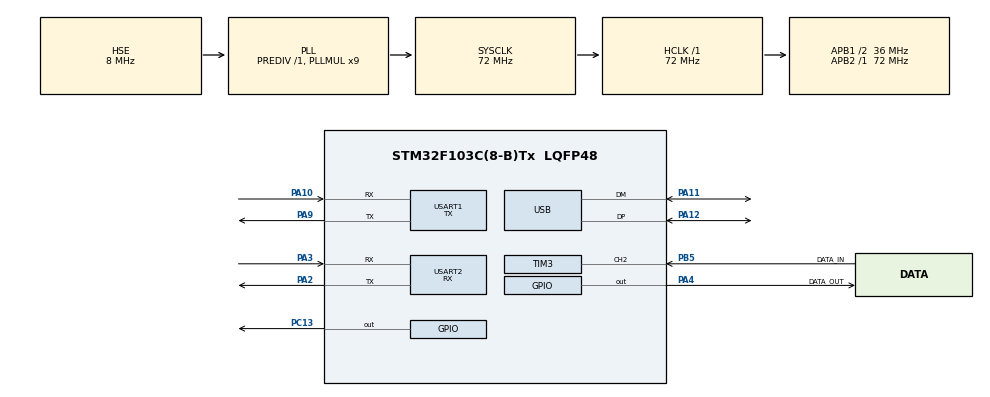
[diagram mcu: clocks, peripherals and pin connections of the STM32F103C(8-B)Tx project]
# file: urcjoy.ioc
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Mcu.Family=STM32F1
USB_DEVICE.CLASS_NAME_FS=CUSTOMHID
PD1-OSC_OUT.Mode=HSE-External-Oscillator
USB_DEVICE.INTERFACE_STRING_CUSTOMHID_FS=HID Interface
TIM3.Channel-Input_Capture2_from_TI2=TIM_CHANNEL_2
PA10.Mode=Asynchronous
USB_DEVICE.USBD_CUSTOM_HID_REPORT_DESC_SIZE=57
USB_DEVICE.VirtualModeFS=Custom_Hid_FS
VP_IWDG_VS_IWDG.Mode=IWDG_Activate
VP_USB_DEVICE_VS_USB_DEVICE_CUSTOM_HID_FS.Mode=CUSTOM_HID_FS
PC13-TAMPER-RTC.Signal=GPIO_Output
RCC.USBPrescaler=RCC_USBCLKSOURCE_PLL_DIV1_5
PA11.Mode=Device
PD0-OSC_IN.Signal=RCC_OSC_IN
RCC.APB1CLKDivider=RCC_HCLK_DIV2
RCC.SYSCLKSource=RCC_SYSCLKSOURCE_PLLCLK
ProjectManager.StackSize=0x400
PD1-OSC_OUT.Signal=RCC_OSC_OUT
PA13.Signal=SYS_JTMS-SWDIO
PA3.Mode=Asynchronous
PA9.Mode=Asynchronous
PA12.Signal=USB_DP
PA4.PinState=GPIO_PIN_RESET
USB_DEVICE.PID_CUSTOMHID_FS=22288
ProjectManager.TargetToolchain=Makefile
RCC.HCLKFreq_Value=72000000
RCC.APB2TimFreq_Value=72000000
TIM3.Period=65535
PA9.Signal=USART1_TX
RCC.USBFreq_Value=48000000
RCC.AHBFreq_Value=72000000
PD0-OSC_IN.Mode=HSE-External-Oscillator
USB_DEVICE.PRODUCT_STRING_CUSTOMHID_FS=Universal RC Joystick
SH.S_TIM3_CH2.1=TIM3_CH2,TriggerSource_TI2FP2
SH.S_TIM3_CH2.0=TIM3_CH2,Input_Capture2_from_TI2
PA4.GPIO_PuPd=GPIO_NOPULL
board=custom
RCC.PLLMUL=RCC_PLL_MUL9
PA4.GPIO_Speed=GPIO_SPEED_FREQ_HIGH
RCC.APB2Freq_Value=72000000
USB_DEVICE.USBD_SELF_POWERED=0
USART1.Mode=MODE_TX
PA14.Mode=Serial_Wire
TIM3.Prescaler=71
NVIC.USB_LP_CAN1_RX0_IRQn=true\:1\:0\:true\:false\:true\:false\:true
USB_DEVICE.CONFIGURATION_STRING_CUSTOMHID_FS=HID Config
PA13.Mode=Serial_Wire
Mcu.Name=STM32F103C(8-B)Tx
PA2.Signal=USART2_TX
USB_DEVICE.SERIALNUMBER_STRING_CUSTOMHID_FS=0000000000DA
PA4.Signal=GPIO_Output
RCC.SYSCLKFreq_VALUE=72000000
Mcu.Package=LQFP48
PB5.Signal=S_TIM3_CH2
PA12.Mode=Device
USART2.VirtualMode=VM_ASYNC
USART1.VirtualMode=VM_ASYNC
PA11.Signal=USB_DM
PA10.Signal=USART1_RX
PA14.Signal=SYS_JTCK-SWCLK
ProjectManager.HeapSize=0x200
PA4.GPIO_ModeDefaultOutputPP=GPIO_MODE_OUTPUT_PP
NVIC.PriorityGroup=NVIC_PRIORITYGROUP_4
PB5.GPIO_Label=DATA_IN
IWDG.Prescaler=IWDG_PRESCALER_16
RCC.APB1TimFreq_Value=72000000
PA2.Mode=Asynchronous
USB_DEVICE.USBD_CUSTOMHID_OUTREPORT_BUF_SIZE=64
VP_TIM3_VS_ControllerModeReset.Mode=Reset Mode
RCC.APB1Freq_Value=36000000
USART2.Mode=MODE_RX
USB_DEVICE.VirtualMode=CustomHid
PA4.GPIO_Label=DATA_OUT
VP_TIM3_VS_ClockSourceINT.Mode=Internal
PA3.Signal=USART2_RX

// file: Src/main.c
/**
  ******************************************************************************
  * @file           : main.c
  * @brief          : Main program body
  ******************************************************************************
  * This notice applies to any and all portions of this file
  * that are not between comment pairs USER CODE BEGIN and
  * USER CODE END. Other portions of this file, whether
  * inserted by the user or by software development tools
  * are owned by their respective copyright owners.
  *
  * Copyright (c) 2022 STMicroelectronics International N.V.
  * All rights reserved.
  *
  * Redistribution and use in source and binary forms, with or without
  * modification, are permitted, provided that the following conditions are met:
  *
  * 1. Redistribution of source code must retain the above copyright notice,
  *    this list of conditions and the following disclaimer.
  * 2. Redistributions in binary form must reproduce the above copyright notice,
  *    this list of conditions and the following disclaimer in the documentation
  *    and/or other materials provided with the distribution.
  * 3. Neither the name of STMicroelectronics nor the names of other
  *    contributors to this software may be used to endorse or promote products
  *    derived from this software without specific written permission.
  * 4. This software, including modifications and/or derivative works of this
  *    software, must execute solely and exclusively on microcontroller or
  *    microprocessor devices manufactured by or for STMicroelectronics.
  * 5. Redistribution and use of this software other than as permitted under
  *    this license is void and will automatically terminate your rights under
  *    this license.
  *
  * THIS SOFTWARE IS PROVIDED BY STMICROELECTRONICS AND CONTRIBUTORS "AS IS"
  * AND ANY EXPRESS, IMPLIED OR STATUTORY WARRANTIES, INCLUDING, BUT NOT
  * LIMITED TO, THE IMPLIED WARRANTIES OF MERCHANTABILITY, FITNESS FOR A
  * PARTICULAR PURPOSE AND NON-INFRINGEMENT OF THIRD PARTY INTELLECTUAL PROPERTY
  * RIGHTS ARE DISCLAIMED TO THE FULLEST EXTENT PERMITTED BY LAW. IN NO EVENT
  * SHALL STMICROELECTRONICS OR CONTRIBUTORS BE LIABLE FOR ANY DIRECT, INDIRECT,
  * INCIDENTAL, SPECIAL, EXEMPLARY, OR CONSEQUENTIAL DAMAGES (INCLUDING, BUT NOT
  * LIMITED TO, PROCUREMENT OF SUBSTITUTE GOODS OR SERVICES; LOSS OF USE, DATA,
  * OR PROFITS; OR BUSINESS INTERRUPTION) HOWEVER CAUSED AND ON ANY THEORY OF
  * LIABILITY, WHETHER IN CONTRACT, STRICT LIABILITY, OR TORT (INCLUDING
  * NEGLIGENCE OR OTHERWISE) ARISING IN ANY WAY OUT OF THE USE OF THIS SOFTWARE,
  * EVEN IF ADVISED OF THE POSSIBILITY OF SUCH DAMAGE.
  *
  ******************************************************************************
  */
#include "main.h"
#include "stm32f1xx_hal.h"
#include "usb_device.h"

/* USER CODE BEGIN Includes */

#include "protocols.h"

/* USER CODE END Includes */

IWDG_HandleTypeDef hiwdg;

TIM_HandleTypeDef htim3;

UART_HandleTypeDef huart1;
UART_HandleTypeDef huart2;

/* USER CODE BEGIN PV */
/* Private variables ---------------------------------------------------------*/

/* USER CODE END PV */

void SystemClock_Config(void);
static void MX_GPIO_Init(void);
static void MX_USART1_UART_Init(void);
static void MX_USART2_UART_Init(void);
static void MX_IWDG_Init(void);
static void MX_TIM3_Init(void);

/* USER CODE BEGIN PFP */
/* Private function prototypes -----------------------------------------------*/

static void GPIO_Data_Out_Init(void);
static void GPIO_Data_Out_DeInit(void);
static void GPIO_USB_Reset();
static void UART_Reset();
static void UART_Set_115200_8N1();
static void UART_Set_100000_8E2();

/* USER CODE END PFP */

int main(void)
{
  /* USER CODE BEGIN 1 */

  int isPorReset = __HAL_RCC_GET_FLAG(RCC_FLAG_PORRST);
  __HAL_RCC_CLEAR_RESET_FLAGS();

  /* USER CODE END 1 */

  /* MCU Configuration----------------------------------------------------------*/

  /* Reset of all peripherals, Initializes the Flash interface and the Systick. */
  HAL_Init();

  /* Configure the system clock */
  SystemClock_Config();

  /* Initialize all configured peripherals */
  MX_GPIO_Init();
  if(!isPorReset) {
    GPIO_USB_Reset();
  }
  MX_USB_DEVICE_Init();
  MX_USART1_UART_Init();
  MX_USART2_UART_Init();
  MX_IWDG_Init();
  MX_TIM3_Init();
  /* USER CODE BEGIN 2 */

  HAL_TIM_Base_DeInit(&htim3);
  GPIO_Data_Out_Init();

  DebugLog("Init\n");
  if(!isPorReset) {
    DebugLog("USB Reset\n");
  }
  /* USER CODE END 2 */

  /* Infinite loop */
  while (1)
  {

  /* USER CODE BEGIN 3 */

    // IBUS

    uartInvert = 0;

    UART_Set_115200_8N1();
    ProtoIbusReader(&huart2);

    UART_Set_115200_8N1();
    ProtoIbusIa6Reader(&huart2);

    // SBUS

    UART_Set_100000_8E2();
    // try inverted first
    uartInvert = 1;
    ProtoSbusReader(&huart2);

    UART_Set_100000_8E2();
    // try uninverted
    uartInvert = 0;
    ProtoSbusReader(&huart2);

    // Spektrum DSM

    UART_Set_115200_8N1();
    ProtoDsmReader(&huart2);

    // PPM
    GPIO_Data_Out_DeInit();
    HAL_TIM_Base_Init(&htim3);
    HAL_GPIO_WritePin(DATA_OUT_GPIO_Port, DATA_OUT_Pin, GPIO_PIN_RESET);

    ProtoPpmReader(&htim3);

    HAL_TIM_Base_DeInit(&htim3);
    GPIO_Data_Out_Init();

    // FPort

    UART_Set_115200_8N1();
    // try inverted first
    uartInvert = 1;
    ProtoFportReader(&huart2);

    UART_Set_115200_8N1();
    // try uninverted
    uartInvert = 0;
    ProtoFportReader(&huart2);
  }
  /* USER CODE END 3 */

}

void SystemClock_Config(void)
{

  RCC_OscInitTypeDef RCC_OscInitStruct;
  RCC_ClkInitTypeDef RCC_ClkInitStruct;
  RCC_PeriphCLKInitTypeDef PeriphClkInit;

    /**Initializes the CPU, AHB and APB busses clocks
    */
  RCC_OscInitStruct.OscillatorType = RCC_OSCILLATORTYPE_LSI|RCC_OSCILLATORTYPE_HSE;
  RCC_OscInitStruct.HSEState = RCC_HSE_ON;
  RCC_OscInitStruct.HSEPredivValue = RCC_HSE_PREDIV_DIV1;
  RCC_OscInitStruct.HSIState = RCC_HSI_ON;
  RCC_OscInitStruct.LSIState = RCC_LSI_ON;
  RCC_OscInitStruct.PLL.PLLState = RCC_PLL_ON;
  RCC_OscInitStruct.PLL.PLLSource = RCC_PLLSOURCE_HSE;
  RCC_OscInitStruct.PLL.PLLMUL = RCC_PLL_MUL9;
  if (HAL_RCC_OscConfig(&RCC_OscInitStruct) != HAL_OK)
  {
    _Error_Handler(__FILE__, __LINE__);
  }

    /**Initializes the CPU, AHB and APB busses clocks
    */
  RCC_ClkInitStruct.ClockType = RCC_CLOCKTYPE_HCLK|RCC_CLOCKTYPE_SYSCLK
                              |RCC_CLOCKTYPE_PCLK1|RCC_CLOCKTYPE_PCLK2;
  RCC_ClkInitStruct.SYSCLKSource = RCC_SYSCLKSOURCE_PLLCLK;
  RCC_ClkInitStruct.AHBCLKDivider = RCC_SYSCLK_DIV1;
  RCC_ClkInitStruct.APB1CLKDivider = RCC_HCLK_DIV2;
  RCC_ClkInitStruct.APB2CLKDivider = RCC_HCLK_DIV1;

  if (HAL_RCC_ClockConfig(&RCC_ClkInitStruct, FLASH_LATENCY_2) != HAL_OK)
  {
    _Error_Handler(__FILE__, __LINE__);
  }

  PeriphClkInit.PeriphClockSelection = RCC_PERIPHCLK_USB;
  PeriphClkInit.UsbClockSelection = RCC_USBCLKSOURCE_PLL_DIV1_5;
  if (HAL_RCCEx_PeriphCLKConfig(&PeriphClkInit) != HAL_OK)
  {
    _Error_Handler(__FILE__, __LINE__);
  }

    /**Configure the Systick interrupt time
    */
  HAL_SYSTICK_Config(HAL_RCC_GetHCLKFreq()/1000);

    /**Configure the Systick
    */
  HAL_SYSTICK_CLKSourceConfig(SYSTICK_CLKSOURCE_HCLK);

  /* SysTick_IRQn interrupt configuration */
  HAL_NVIC_SetPriority(SysTick_IRQn, 1, 0);
}

/* IWDG init function */
static void MX_IWDG_Init(void)
{

  hiwdg.Instance = IWDG;
  hiwdg.Init.Prescaler = IWDG_PRESCALER_16;
  hiwdg.Init.Reload = 4095;
  if (HAL_IWDG_Init(&hiwdg) != HAL_OK)
  {
    _Error_Handler(__FILE__, __LINE__);
  }

}

/* TIM3 init function */
static void MX_TIM3_Init(void)
{

  TIM_ClockConfigTypeDef sClockSourceConfig;
  TIM_SlaveConfigTypeDef sSlaveConfig;
  TIM_MasterConfigTypeDef sMasterConfig;
  TIM_IC_InitTypeDef sConfigIC;

  htim3.Instance = TIM3;
  htim3.Init.Prescaler = 71;
  htim3.Init.CounterMode = TIM_COUNTERMODE_UP;
  htim3.Init.Period = 65535;
  htim3.Init.ClockDivision = TIM_CLOCKDIVISION_DIV1;
  htim3.Init.AutoReloadPreload = TIM_AUTORELOAD_PRELOAD_DISABLE;
  if (HAL_TIM_Base_Init(&htim3) != HAL_OK)
  {
    _Error_Handler(__FILE__, __LINE__);
  }

  sClockSourceConfig.ClockSource = TIM_CLOCKSOURCE_INTERNAL;
  if (HAL_TIM_ConfigClockSource(&htim3, &sClockSourceConfig) != HAL_OK)
  {
    _Error_Handler(__FILE__, __LINE__);
  }

  if (HAL_TIM_IC_Init(&htim3) != HAL_OK)
  {
    _Error_Handler(__FILE__, __LINE__);
  }

  sSlaveConfig.SlaveMode = TIM_SLAVEMODE_RESET;
  sSlaveConfig.InputTrigger = TIM_TS_TI2FP2;
  sSlaveConfig.TriggerPolarity = TIM_INPUTCHANNELPOLARITY_RISING;
  sSlaveConfig.TriggerFilter = 0;
  if (HAL_TIM_SlaveConfigSynchronization(&htim3, &sSlaveConfig) != HAL_OK)
  {
    _Error_Handler(__FILE__, __LINE__);
  }

  sMasterConfig.MasterOutputTrigger = TIM_TRGO_RESET;
  sMasterConfig.MasterSlaveMode = TIM_MASTERSLAVEMODE_DISABLE;
  if (HAL_TIMEx_MasterConfigSynchronization(&htim3, &sMasterConfig) != HAL_OK)
  {
    _Error_Handler(__FILE__, __LINE__);
  }

  sConfigIC.ICPolarity = TIM_INPUTCHANNELPOLARITY_RISING;
  sConfigIC.ICSelection = TIM_ICSELECTION_DIRECTTI;
  sConfigIC.ICPrescaler = TIM_ICPSC_DIV1;
  sConfigIC.ICFilter = 0;
  if (HAL_TIM_IC_ConfigChannel(&htim3, &sConfigIC, TIM_CHANNEL_2) != HAL_OK)
  {
    _Error_Handler(__FILE__, __LINE__);
  }

}

/* USART1 init function */
static void MX_USART1_UART_Init(void)
{

  huart1.Instance = USART1;
  huart1.Init.BaudRate = 115200;
  huart1.Init.WordLength = UART_WORDLENGTH_8B;
  huart1.Init.StopBits = UART_STOPBITS_1;
  huart1.Init.Parity = UART_PARITY_NONE;
  huart1.Init.Mode = UART_MODE_TX;
  huart1.Init.HwFlowCtl = UART_HWCONTROL_NONE;
  huart1.Init.OverSampling = UART_OVERSAMPLING_16;
  if (HAL_UART_Init(&huart1) != HAL_OK)
  {
    _Error_Handler(__FILE__, __LINE__);
  }

}

/* USART2 init function */
static void MX_USART2_UART_Init(void)
{

  huart2.Instance = USART2;
  huart2.Init.BaudRate = 115200;
  huart2.Init.WordLength = UART_WORDLENGTH_8B;
  huart2.Init.StopBits = UART_STOPBITS_1;
  huart2.Init.Parity = UART_PARITY_NONE;
  huart2.Init.Mode = UART_MODE_RX;
  huart2.Init.HwFlowCtl = UART_HWCONTROL_NONE;
  huart2.Init.OverSampling = UART_OVERSAMPLING_16;
  if (HAL_UART_Init(&huart2) != HAL_OK)
  {
    _Error_Handler(__FILE__, __LINE__);
  }

}

/** Configure pins as
        * Analog
        * Input
        * Output
        * EVENT_OUT
        * EXTI
*/
static void MX_GPIO_Init(void)
{

  GPIO_InitTypeDef GPIO_InitStruct;

  /* GPIO Ports Clock Enable */
  __HAL_RCC_GPIOC_CLK_ENABLE();
  __HAL_RCC_GPIOD_CLK_ENABLE();
  __HAL_RCC_GPIOA_CLK_ENABLE();
  __HAL_RCC_GPIOB_CLK_ENABLE();

  /*Configure GPIO pin Output Level */
  HAL_GPIO_WritePin(GPIOC, GPIO_PIN_13, GPIO_PIN_RESET);

  /*Configure GPIO pin Output Level */
  HAL_GPIO_WritePin(DATA_OUT_GPIO_Port, DATA_OUT_Pin, GPIO_PIN_RESET);

  /*Configure GPIO pin : PC13 */
  GPIO_InitStruct.Pin = GPIO_PIN_13;
  GPIO_InitStruct.Mode = GPIO_MODE_OUTPUT_PP;
  GPIO_InitStruct.Pull = GPIO_NOPULL;
  GPIO_InitStruct.Speed = GPIO_SPEED_FREQ_LOW;
  HAL_GPIO_Init(GPIOC, &GPIO_InitStruct);

  /*Configure GPIO pin : DATA_OUT_Pin */
  GPIO_InitStruct.Pin = DATA_OUT_Pin;
  GPIO_InitStruct.Mode = GPIO_MODE_OUTPUT_PP;
  GPIO_InitStruct.Pull = GPIO_NOPULL;
  GPIO_InitStruct.Speed = GPIO_SPEED_FREQ_HIGH;
  HAL_GPIO_Init(DATA_OUT_GPIO_Port, &GPIO_InitStruct);

}

/* USER CODE BEGIN 4 */
static void GPIO_Data_Out_Init(void) {
  GPIO_InitTypeDef GPIO_InitStruct;

  GPIO_InitStruct.Pin = DATA_IN_Pin;
  GPIO_InitStruct.Mode = GPIO_MODE_IT_RISING_FALLING;
  GPIO_InitStruct.Pull = GPIO_NOPULL;
  HAL_GPIO_Init(DATA_IN_GPIO_Port, &GPIO_InitStruct);

  HAL_NVIC_SetPriority(EXTI9_5_IRQn, 0, 0);
  HAL_NVIC_EnableIRQ(EXTI9_5_IRQn);

}

static void GPIO_Data_Out_DeInit(void) {
  HAL_NVIC_DisableIRQ(EXTI9_5_IRQn);
}

static void GPIO_USB_Reset() {
  GPIO_InitTypeDef GPIO_InitStruct;

  GPIO_InitStruct.Pin = GPIO_PIN_12;
  GPIO_InitStruct.Mode = GPIO_MODE_OUTPUT_PP;
  GPIO_InitStruct.Pull = GPIO_NOPULL;
  GPIO_InitStruct.Speed = GPIO_SPEED_FREQ_LOW;
  HAL_GPIO_Init(GPIOA, &GPIO_InitStruct);

  HAL_GPIO_WritePin(GPIOA, GPIO_PIN_12, GPIO_PIN_RESET);
  HAL_GPIO_WritePin(GPIOC, GPIO_PIN_13, GPIO_PIN_SET);
  uint32_t time = HAL_GetTick() + 1000;
  int i=0;
  while(HAL_GetTick() < time)
    HAL_GPIO_WritePin(GPIOC, GPIO_PIN_13, i++&1);
  //HAL_GPIO_WritePin(GPIOA, GPIO_PIN_12, GPIO_PIN_SET);
  HAL_GPIO_DeInit(GPIOA, GPIO_PIN_12);
}

static void UART_Reset() {
  __HAL_RCC_USART2_FORCE_RESET();
  __HAL_RCC_USART2_RELEASE_RESET();
  memset(&huart2, 0, sizeof(huart2));
}

static void UART_Set_115200_8N1() {
  UART_Reset();

  huart2.Instance = USART2;
  huart2.Init.BaudRate = 115200;
  huart2.Init.WordLength = UART_WORDLENGTH_8B;
  huart2.Init.StopBits = UART_STOPBITS_1;
  huart2.Init.Parity = UART_PARITY_NONE;
  huart2.Init.Mode = UART_MODE_RX;
  huart2.Init.HwFlowCtl = UART_HWCONTROL_NONE;
  huart2.Init.OverSampling = UART_OVERSAMPLING_16;
  if (HAL_UART_Init(&huart2) != HAL_OK)
  {
    _Error_Handler(__FILE__, __LINE__);
  }
}

static void UART_Set_100000_8E2() {
  UART_Reset();

  huart2.Instance = USART2;
  huart2.Init.BaudRate = 100000;
  huart2.Init.WordLength = UART_WORDLENGTH_9B;
  huart2.Init.StopBits = UART_STOPBITS_2;
  huart2.Init.Parity = UART_PARITY_EVEN;
  huart2.Init.Mode = UART_MODE_RX;
  huart2.Init.HwFlowCtl = UART_HWCONTROL_NONE;
  huart2.Init.OverSampling = UART_OVERSAMPLING_16;
  if (HAL_UART_Init(&huart2) != HAL_OK)
  {
    _Error_Handler(__FILE__, __LINE__);
  }
}
/* USER CODE END 4 */

void _Error_Handler(char *file, int line)
{
  while(1)
  {
  }
}

/************************ (C) COPYRIGHT STMicroelectronics *****END OF FILE****/
